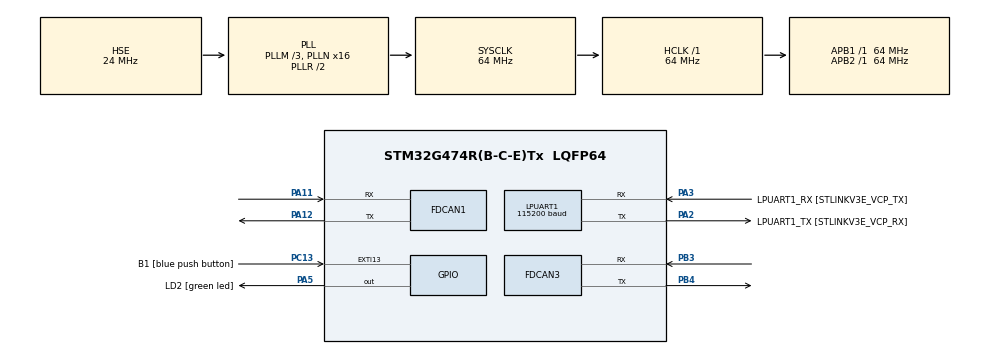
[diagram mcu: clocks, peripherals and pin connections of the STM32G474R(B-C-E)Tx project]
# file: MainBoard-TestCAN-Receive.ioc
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FDCAN1.AutoRetransmission=ENABLE
FDCAN1.ClockDivider=FDCAN_CLOCK_DIV1
FDCAN1.NominalPrescaler=5
FDCAN1.NominalTimeSeg1=13
FDCAN1.NominalTimeSeg2=2
LPUART1.BaudRate=115200
LPUART1.WordLength=UART_WORDLENGTH_8B
Mcu.Family=STM32G4
Mcu.Name=STM32G474R(B-C-E)Tx
Mcu.Package=LQFP64
NVIC.EXTI15_10_IRQn=true\:0\:0\:false\:false\:true\:true\:true
NVIC.FDCAN1_IT0_IRQn=true\:0\:0\:false\:false\:true\:true\:true
NVIC.PriorityGroup=NVIC_PRIORITYGROUP_4
PA11.Mode=FDCANMaster
PA11.Signal=FDCAN1_RX
PA12.Mode=FDCANMaster
PA12.Signal=FDCAN1_TX
PA13.GPIO_Label=T_SWDIO
PA13.Mode=Serial_Wire
PA13.Signal=SYS_JTMS-SWDIO
PA14.GPIO_Label=T_SWCLK
PA14.Mode=Serial_Wire
PA14.Signal=SYS_JTCK-SWCLK
PA2.GPIO_Label=LPUART1_TX [STLINKV3E_VCP_RX]
PA2.Mode=Asynchronous
PA2.Signal=LPUART1_TX
PA3.GPIO_Label=LPUART1_RX [STLINKV3E_VCP_TX]
PA3.Mode=Asynchronous
PA3.Signal=LPUART1_RX
PA5.GPIO_Label=LD2 [green led]
PA5.Signal=GPIO_Output
PB3.Mode=FDCANMaster
PB3.Signal=FDCAN3_RX
PB4.Mode=FDCANMaster
PB4.Signal=FDCAN3_TX
PC13.GPIO_Label=B1 [blue push button]
PC13.Signal=GPXTI13
PC14-OSC32_IN.Mode=LSE-External-Oscillator
PC14-OSC32_IN.Signal=RCC_OSC32_IN
PC15-OSC32_OUT.Mode=LSE-External-Oscillator
PC15-OSC32_OUT.Signal=RCC_OSC32_OUT
PF0-OSC_IN.Mode=HSE-External-Oscillator
PF0-OSC_IN.Signal=RCC_OSC_IN
PF1-OSC_OUT.Mode=HSE-External-Oscillator
PF1-OSC_OUT.Signal=RCC_OSC_OUT
ProjectManager.HeapSize=0x200
ProjectManager.StackSize=0x400
ProjectManager.TargetToolchain=STM32CubeIDE
RCC.ADC12Freq_Value=64000000
RCC.ADC345Freq_Value=64000000
RCC.AHBFreq_Value=64000000
RCC.APB1Freq_Value=64000000
RCC.APB1TimFreq_Value=64000000
RCC.APB2Freq_Value=64000000
RCC.APB2TimFreq_Value=64000000
RCC.CortexFreq_Value=64000000
RCC.EXTERNAL_CLOCK_VALUE=12288000
RCC.HCLKFreq_Value=64000000
RCC.HSE_VALUE=24000000
RCC.HSI48_VALUE=48000000
RCC.HSI_VALUE=16000000
RCC.PLLM=RCC_PLLM_DIV3
RCC.PLLN=16
RCC.PLLSourceVirtual=RCC_PLLSOURCE_HSE
RCC.RTCClockSelection=RCC_RTCCLKSOURCE_LSE
RCC.SYSCLKFreq_VALUE=64000000
RCC.SYSCLKSource=RCC_SYSCLKSOURCE_PLLCLK
RCC.USBFreq_Value=64000000
RCC.VCOOutputFreq_Value=128000000
VP_SYS_VS_DBSignals.Mode=DisableDeadBatterySignals
board=NUCLEO-G474RE

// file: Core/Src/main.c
/* USER CODE BEGIN Header */
/**
  ******************************************************************************
  * @file           : main.c
  * @brief          : Main program body
  ******************************************************************************
  * @attention
  *
  * <h2><center>&copy; Copyright (c) 2019 STMicroelectronics.
  * All rights reserved.</center></h2>
  *
  * This software component is licensed by ST under BSD 3-Clause license,
  * the "License"; You may not use this file except in compliance with the
  * License. You may obtain a copy of the License at:
  *                        opensource.org/licenses/BSD-3-Clause
  *
  ******************************************************************************
  */
/* USER CODE END Header */

#include "main.h"

FDCAN_HandleTypeDef hfdcan1;
FDCAN_HandleTypeDef hfdcan3;

UART_HandleTypeDef hlpuart1;

/* USER CODE BEGIN PV */
uint8_t TxData[8];
uint8_t RxData[64];
uint8_t controllertStatus[64];
uint8_t inverterTemp;
uint8_t motorTemp;
uint8_t ubKeyNumber = 0x0;
FDCAN_RxHeaderTypeDef RxHeader;
FDCAN_TxHeaderTypeDef TxHeader;
uint32_t ID;
uint32_t length;
uint32_t Time;
uint32_t dataToSend;
/* USER CODE END PV */

void SystemClock_Config(void);
static void MX_GPIO_Init(void);
static void MX_LPUART1_UART_Init(void);
static void MX_FDCAN1_Init(void);
static void MX_FDCAN3_Init(void);

int main(void)
{

  /* MCU Configuration--------------------------------------------------------*/

  /* Reset of all peripherals, Initializes the Flash interface and the Systick. */
  HAL_Init();

  /* Configure the system clock */
  SystemClock_Config();

  /* Initialize all configured peripherals */
  MX_GPIO_Init();
  MX_LPUART1_UART_Init();
  MX_FDCAN1_Init();
  MX_FDCAN3_Init();
  /* USER CODE BEGIN 2 */
  TxHeader.Identifier = 0x01;
  TxHeader.IdType = FDCAN_STANDARD_ID;
  TxHeader.TxFrameType = FDCAN_DATA_FRAME;
  TxHeader.DataLength = FDCAN_DLC_BYTES_8;
  TxHeader.ErrorStateIndicator = FDCAN_ESI_ACTIVE;
  TxHeader.BitRateSwitch = FDCAN_BRS_OFF;
  TxHeader.FDFormat = FDCAN_CLASSIC_CAN;
  TxHeader.TxEventFifoControl = FDCAN_NO_TX_EVENTS;
  TxHeader.MessageMarker = 0;
  TxData[0]=1;
  TxData[1]=2;
  TxData[2]=3;
  TxData[3]=4;
  TxData[4]=5;
  TxData[5]=6;
  TxData[6]=7;
  TxData[7]=8;

/*  sFilterConfig.FilterFIFOAssignment=CAN_FILTER_FIFO0;
  sFilterConfig.FilterIdHigh=0x313<<5;
  sFilterConfig.FilterIdLow=0;
  sFilterConfig.FilterMaskIdHigh=0;
  sFilterConfig.FilterMaskIdLow=0;
  sFilterConfig.FilterScale=CAN_FILTERSCALE_32BIT;
  sFilterConfig.FilterActivation=ENABLE;*/

  if (HAL_FDCAN_Start(&hfdcan1) != HAL_OK)
      {
        /* Start Error */
        Error_Handler();
      }
    if (HAL_FDCAN_ActivateNotification(&hfdcan1, FDCAN_IT_RX_FIFO0_NEW_MESSAGE, 0) != HAL_OK)
      {
        /* Notification Error */
        Error_Handler();
      }
    //HAL_DAC_ENABLE(&hdac2, DAC_CHANNEL_2);
    //HAL_DAC_Start(&hdac2, DAC_CHANNEL_1);
   // HAL_DAC_SetValue(&hdac2, DAC_CHANNEL_1, DAC_ALIGN_12B_R, 2048);

  /* USER CODE END 2 */

  /* Infinite loop */
  while (1)
  {

    /* USER CODE BEGIN 3 */
	 if (HAL_FDCAN_AddMessageToTxFifoQ(&hfdcan1, &TxHeader, TxData) != HAL_OK)
	  	  	{
	  	  	  // Transmission request Error
	  	  	  Error_Handler();
	  	  	}
	  TxData[7]=TxData[7]+1;

	  //HAL_GPIO_WritePin(GPIOA, GPIO_PIN_5, GPIO_PIN_RESET);

	  //HAL_Delay(500);
  }
  /* USER CODE END 3 */
}

void SystemClock_Config(void)
{
  RCC_OscInitTypeDef RCC_OscInitStruct = {0};
  RCC_ClkInitTypeDef RCC_ClkInitStruct = {0};
  RCC_PeriphCLKInitTypeDef PeriphClkInit = {0};

  /** Configure the main internal regulator output voltage
  */
  HAL_PWREx_ControlVoltageScaling(PWR_REGULATOR_VOLTAGE_SCALE1);
  /** Initializes the CPU, AHB and APB busses clocks
  */
  RCC_OscInitStruct.OscillatorType = RCC_OSCILLATORTYPE_HSE;
  RCC_OscInitStruct.HSEState = RCC_HSE_ON;
  RCC_OscInitStruct.PLL.PLLState = RCC_PLL_ON;
  RCC_OscInitStruct.PLL.PLLSource = RCC_PLLSOURCE_HSE;
  RCC_OscInitStruct.PLL.PLLM = RCC_PLLM_DIV3;
  RCC_OscInitStruct.PLL.PLLN = 16;
  RCC_OscInitStruct.PLL.PLLP = RCC_PLLP_DIV2;
  RCC_OscInitStruct.PLL.PLLQ = RCC_PLLQ_DIV2;
  RCC_OscInitStruct.PLL.PLLR = RCC_PLLR_DIV2;
  if (HAL_RCC_OscConfig(&RCC_OscInitStruct) != HAL_OK)
  {
    Error_Handler();
  }
  /** Initializes the CPU, AHB and APB busses clocks
  */
  RCC_ClkInitStruct.ClockType = RCC_CLOCKTYPE_HCLK|RCC_CLOCKTYPE_SYSCLK
                              |RCC_CLOCKTYPE_PCLK1|RCC_CLOCKTYPE_PCLK2;
  RCC_ClkInitStruct.SYSCLKSource = RCC_SYSCLKSOURCE_PLLCLK;
  RCC_ClkInitStruct.AHBCLKDivider = RCC_SYSCLK_DIV1;
  RCC_ClkInitStruct.APB1CLKDivider = RCC_HCLK_DIV1;
  RCC_ClkInitStruct.APB2CLKDivider = RCC_HCLK_DIV1;

  if (HAL_RCC_ClockConfig(&RCC_ClkInitStruct, FLASH_LATENCY_3) != HAL_OK)
  {
    Error_Handler();
  }
  /** Initializes the peripherals clocks
  */
  PeriphClkInit.PeriphClockSelection = RCC_PERIPHCLK_LPUART1|RCC_PERIPHCLK_FDCAN;
  PeriphClkInit.Lpuart1ClockSelection = RCC_LPUART1CLKSOURCE_PCLK1;
  PeriphClkInit.FdcanClockSelection = RCC_FDCANCLKSOURCE_PCLK1;
  if (HAL_RCCEx_PeriphCLKConfig(&PeriphClkInit) != HAL_OK)
  {
    Error_Handler();
  }
}

static void MX_FDCAN1_Init(void)
{

  hfdcan1.Instance = FDCAN1;
  hfdcan1.Init.ClockDivider = FDCAN_CLOCK_DIV1;
  hfdcan1.Init.FrameFormat = FDCAN_FRAME_CLASSIC;
  hfdcan1.Init.Mode = FDCAN_MODE_NORMAL;
  hfdcan1.Init.AutoRetransmission = ENABLE;
  hfdcan1.Init.TransmitPause = DISABLE;
  hfdcan1.Init.ProtocolException = DISABLE;
  hfdcan1.Init.NominalPrescaler = 5;
  hfdcan1.Init.NominalSyncJumpWidth = 1;
  hfdcan1.Init.NominalTimeSeg1 = 13;
  hfdcan1.Init.NominalTimeSeg2 = 2;
  hfdcan1.Init.DataPrescaler = 1;
  hfdcan1.Init.DataSyncJumpWidth = 1;
  hfdcan1.Init.DataTimeSeg1 = 1;
  hfdcan1.Init.DataTimeSeg2 = 1;
  hfdcan1.Init.StdFiltersNbr = 0;
  hfdcan1.Init.ExtFiltersNbr = 0;
  hfdcan1.Init.TxFifoQueueMode = FDCAN_TX_FIFO_OPERATION;
  if (HAL_FDCAN_Init(&hfdcan1) != HAL_OK)
  {
    Error_Handler();
  }

}

static void MX_FDCAN3_Init(void)
{

  hfdcan3.Instance = FDCAN3;
  hfdcan3.Init.FrameFormat = FDCAN_FRAME_CLASSIC;
  hfdcan3.Init.Mode = FDCAN_MODE_NORMAL;
  hfdcan3.Init.AutoRetransmission = DISABLE;
  hfdcan3.Init.TransmitPause = DISABLE;
  hfdcan3.Init.ProtocolException = DISABLE;
  hfdcan3.Init.NominalPrescaler = 1;
  hfdcan3.Init.NominalSyncJumpWidth = 1;
  hfdcan3.Init.NominalTimeSeg1 = 2;
  hfdcan3.Init.NominalTimeSeg2 = 2;
  hfdcan3.Init.DataPrescaler = 1;
  hfdcan3.Init.DataSyncJumpWidth = 1;
  hfdcan3.Init.DataTimeSeg1 = 1;
  hfdcan3.Init.DataTimeSeg2 = 1;
  hfdcan3.Init.StdFiltersNbr = 0;
  hfdcan3.Init.ExtFiltersNbr = 0;
  hfdcan3.Init.TxFifoQueueMode = FDCAN_TX_FIFO_OPERATION;
  if (HAL_FDCAN_Init(&hfdcan3) != HAL_OK)
  {
    Error_Handler();
  }

}

static void MX_LPUART1_UART_Init(void)
{

  hlpuart1.Instance = LPUART1;
  hlpuart1.Init.BaudRate = 115200;
  hlpuart1.Init.WordLength = UART_WORDLENGTH_8B;
  hlpuart1.Init.StopBits = UART_STOPBITS_1;
  hlpuart1.Init.Parity = UART_PARITY_NONE;
  hlpuart1.Init.Mode = UART_MODE_TX_RX;
  hlpuart1.Init.HwFlowCtl = UART_HWCONTROL_NONE;
  hlpuart1.Init.OneBitSampling = UART_ONE_BIT_SAMPLE_DISABLE;
  hlpuart1.AdvancedInit.AdvFeatureInit = UART_ADVFEATURE_NO_INIT;
  if (HAL_UART_Init(&hlpuart1) != HAL_OK)
  {
    Error_Handler();
  }
  if (HAL_UARTEx_SetTxFifoThreshold(&hlpuart1, UART_TXFIFO_THRESHOLD_1_8) != HAL_OK)
  {
    Error_Handler();
  }
  if (HAL_UARTEx_SetRxFifoThreshold(&hlpuart1, UART_RXFIFO_THRESHOLD_1_8) != HAL_OK)
  {
    Error_Handler();
  }
  if (HAL_UARTEx_DisableFifoMode(&hlpuart1) != HAL_OK)
  {
    Error_Handler();
  }

}

static void MX_GPIO_Init(void)
{
  GPIO_InitTypeDef GPIO_InitStruct = {0};

  /* GPIO Ports Clock Enable */
  __HAL_RCC_GPIOC_CLK_ENABLE();
  __HAL_RCC_GPIOF_CLK_ENABLE();
  __HAL_RCC_GPIOA_CLK_ENABLE();
  __HAL_RCC_GPIOB_CLK_ENABLE();

  /*Configure GPIO pin Output Level */
  HAL_GPIO_WritePin(LD2_GPIO_Port, LD2_Pin, GPIO_PIN_RESET);

  /*Configure GPIO pin : B1_Pin */
  GPIO_InitStruct.Pin = B1_Pin;
  GPIO_InitStruct.Mode = GPIO_MODE_IT_RISING;
  GPIO_InitStruct.Pull = GPIO_NOPULL;
  HAL_GPIO_Init(B1_GPIO_Port, &GPIO_InitStruct);

  /*Configure GPIO pin : LD2_Pin */
  GPIO_InitStruct.Pin = LD2_Pin;
  GPIO_InitStruct.Mode = GPIO_MODE_OUTPUT_PP;
  GPIO_InitStruct.Pull = GPIO_NOPULL;
  GPIO_InitStruct.Speed = GPIO_SPEED_FREQ_LOW;
  HAL_GPIO_Init(LD2_GPIO_Port, &GPIO_InitStruct);

  /* EXTI interrupt init*/
  HAL_NVIC_SetPriority(EXTI15_10_IRQn, 0, 0);
  HAL_NVIC_EnableIRQ(EXTI15_10_IRQn);

}

/* USER CODE BEGIN 4 */
void HAL_FDCAN_RxFifo0Callback(FDCAN_HandleTypeDef*hcan, uint32_t RxFifo0ITs)
{
	HAL_FDCAN_GetRxMessage(&hfdcan1,FDCAN_RX_FIFO0,&RxHeader,RxData);
	HAL_GPIO_TogglePin(GPIOB,GPIO_PIN_2);
}
/* USER CODE END 4 */

void Error_Handler(void)
{
}

/************************ (C) COPYRIGHT STMicroelectronics *****END OF FILE****/
